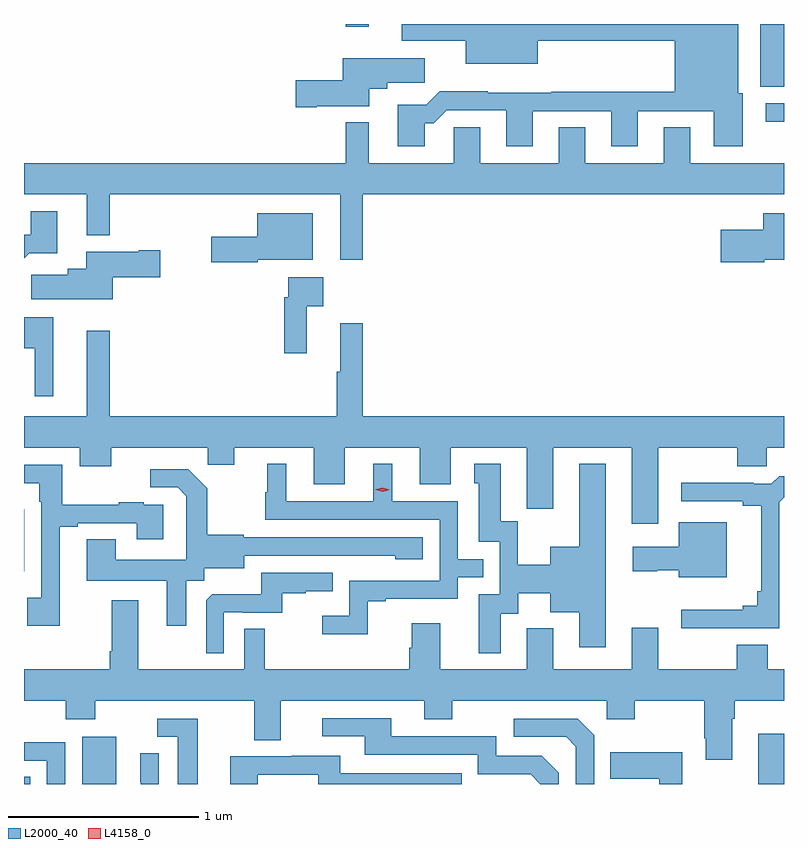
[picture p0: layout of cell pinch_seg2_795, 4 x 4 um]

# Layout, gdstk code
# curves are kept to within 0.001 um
import gdstk
lib = gdstk.Library(unit=1e-6, precision=1e-09)
def R(c, l, rs):  # rectangles x0, y0, x1, y1
    for r in rs: c.add(gdstk.rectangle(r[:2], r[2:], *l))
def P(c, l, *ps):  # polygons
    for p in ps: c.add(gdstk.Polygon(p, *l))
L2000_40 = (2000, 40)
L4158_0 = (4158, 0)

pinch_seg2_795 = lib.new_cell('pinch_seg2_795')
R(pinch_seg2_795, L2000_40, [(663.851,613.897,663.883,613.934), (664.157,613.897,664.336,614.146), (667.715,613.897,667.851,614.161), (663.851,615.018,663.852,615.343), (667.755,617.383,667.851,617.481), (667.727,617.566,667.851,617.897), (665.544,617.883,665.665,617.897)])
P(pinch_seg2_795, L2000_40, [(665.959,617.375),(666.008,617.375),(666.075,617.442),(666.389,617.442),(666.389,617.253),(666.529,617.253),(666.529,617.439),(666.941,617.439),(666.941,617.253),(667.081,617.253),(667.081,617.439),(667.481,617.439),(667.481,617.253),(667.633,617.253),(667.633,617.532),(667.609,617.532),(667.609,617.897),(665.84,617.897),(665.84,617.81),(666.176,617.81),(666.176,617.687),(666.556,617.687),(666.556,617.81),(667.277,617.81),(667.277,617.54),(666.625,617.54),(666.625,617.536),(666.293,617.536),(666.293,617.543),(666.038,617.543),(665.968,617.473),(665.819,617.473),(665.819,617.253),(665.959,617.253)],
  [(665.392,617.465),(665.668,617.465),(665.668,617.555),(665.764,617.555),(665.764,617.587),(665.959,617.587),(665.959,617.716),(665.528,617.716),(665.528,617.6),(665.28,617.6),(665.28,617.458),(665.392,617.458)],
  [(665.633,617),(667.851,617),(667.851,617.164),(667.357,617.164),(667.357,617.354),(667.217,617.354),(667.217,617.164),(666.805,617.164),(666.805,617.354),(666.665,617.354),(666.665,617.164),(666.253,617.164),(666.253,617.354),(666.114,617.354),(666.114,617.164),(665.665,617.164),(665.665,617.38),(665.544,617.38),(665.544,617.164),(663.851,617.164),(663.851,617),(664.181,617),(664.181,616.784),(664.303,616.784),(664.303,617),(665.516,617),(665.516,616.656),(665.633,616.656)],
  [(663.878,616.691),(664.027,616.691),(664.027,616.912),(663.887,616.912),(663.887,616.789),(663.851,616.789),(663.851,616.664)],
  [(665.082,616.655),(665.371,616.655),(665.371,616.9),(665.078,616.9),(665.078,616.777),(664.836,616.777),(664.836,616.643),(665.082,616.643)],
  [(667.746,616.655),(667.851,616.655),(667.851,616.9),(667.742,616.9),(667.742,616.813),(667.518,616.813),(667.518,616.643),(667.746,616.643)],
  [(664.318,616.565),(664.567,616.565),(664.567,616.707),(664.454,616.707),(664.454,616.699),(664.178,616.699),(664.178,616.609),(664.082,616.609),(664.082,616.577),(663.888,616.577),(663.888,616.448),(664.318,616.448)],
  [(665.339,616.412),(665.425,616.412),(665.425,616.564),(665.241,616.564),(665.241,616.46),(665.221,616.46),(665.221,616.164),(665.339,616.164)],
  [(664.006,616.354),(663.851,616.354),(663.851,616.19),(663.908,616.19),(663.908,615.939),(664.006,615.939)],
  [(667.189,615.668),(667.606,615.668),(667.606,615.57),(667.761,615.57),(667.761,615.668),(667.851,615.668),(667.851,615.832),(665.633,615.832),(665.633,616.321),(665.516,616.321),(665.516,616.068),(665.497,616.068),(665.497,615.832),(664.303,615.832),(664.303,616.282),(664.181,616.282),(664.181,615.832),(663.851,615.832),(663.851,615.668),(664.145,615.668),(664.145,615.569),(664.309,615.569),(664.309,615.668),(664.819,615.668),(664.819,615.578),(664.957,615.578),(664.957,615.668),(665.375,615.668),(665.375,615.474),(665.539,615.474),(665.539,615.668),(665.933,615.668),(665.933,615.474),(666.097,615.474),(666.097,615.668),(666.497,615.668),(666.497,615.457),(666.498,615.457),(666.498,615.345),(666.637,615.345),(666.637,615.668),(667.049,615.668),(667.049,615.267),(667.189,615.267)],
  [(665.661,614.859),(665.755,614.859),(665.755,614.871),(666.135,614.871),(666.135,614.985),(666.269,614.985),(666.269,615.081),(666.135,615.081),(666.135,615.384),(665.788,615.384),(665.788,615.583),(665.69,615.583),(665.69,615.384),(665.23,615.384),(665.23,615.583),(665.132,615.583),(665.132,615.432),(665.121,615.432),(665.121,615.288),(666.039,615.288),(666.039,614.967),(665.562,614.967),(665.562,614.782),(665.421,614.782),(665.421,614.684),(665.661,614.684)],
  [(666.361,614.794),(666.451,614.794),(666.451,614.9),(666.62,614.9),(666.62,614.801),(666.773,614.801),(666.773,614.616),(666.913,614.616),(666.913,615.583),(666.773,615.583),(666.773,615.145),(666.62,615.145),(666.62,615.052),(666.45,615.052),(666.45,615.279),(666.361,615.279),(666.361,615.583),(666.221,615.583),(666.221,615.48),(666.245,615.48),(666.245,615.171),(666.354,615.171),(666.354,614.895),(666.245,614.895),(666.245,614.586),(666.361,614.586)],
  [(664.039,615.252),(664.135,615.252),(664.135,615.27),(664.445,615.27),(664.445,615.186),(664.585,615.186),(664.585,615.366),(664.481,615.366),(664.481,615.379),(664.349,615.379),(664.349,615.368),(664.051,615.368),(664.051,615.576),(663.851,615.576),(663.851,615.479),(663.93,615.479),(663.93,615.383),(663.942,615.383),(663.942,614.878),(663.867,614.878),(663.867,614.73),(664.039,614.73)],
  [(664.705,614.968),(664.8,614.968),(664.8,615.032),(665.011,615.032),(665.011,615.099),(665.805,615.098),(665.805,615.08),(665.95,615.08),(665.95,615.195),(665.007,615.195),(665.007,615.208),(664.815,615.208),(664.815,615.453),(664.715,615.553),(664.515,615.553),(664.515,615.459),(664.659,615.459),(664.706,615.412),(664.706,615.317),(664.704,615.317),(664.704,615.076),(664.333,615.076),(664.333,615.185),(664.181,615.185),(664.181,614.966),(664.601,614.966),(664.601,614.73),(664.705,614.73)],
  [(667.827,615.381),(667.851,615.405),(667.851,615.517),(667.825,615.517),(667.785,615.477),(667.691,615.477),(667.691,615.482),(667.311,615.482),(667.311,615.384),(667.634,615.384),(667.634,615.362),(667.73,615.362),(667.73,614.911),(667.711,614.911),(667.711,614.834),(667.634,614.834),(667.634,614.815),(667.311,614.815),(667.311,614.718),(667.827,614.718)],
  [(667.549,615.274),(667.298,615.274),(667.298,615.145),(667.056,615.145),(667.056,615.016),(667.185,615.016),(667.185,615.023),(667.298,615.023),(667.298,614.984),(667.549,614.984)],
  [(664.902,614.802),(665.002,614.802),(665.002,614.799),(665.21,614.799),(665.21,614.901),(665.333,614.901),(665.333,614.912),(665.477,614.912),(665.477,615.009),(665.1,615.009),(665.1,614.897),(664.841,614.897),(664.809,614.865),(664.809,614.585),(664.902,614.585)],
  [(667.579,614.24),(667.592,614.24),(667.592,614.336),(667.851,614.336),(667.851,614.5),(667.765,614.5),(667.765,614.629),(667.601,614.629),(667.601,614.5),(667.189,614.5),(667.189,614.719),(667.049,614.719),(667.049,614.5),(666.637,614.5),(666.637,614.716),(666.497,614.716),(666.497,614.5),(666.043,614.5),(666.043,614.743),(665.891,614.743),(665.891,614.613),(665.879,614.613),(665.879,614.5),(665.119,614.5),(665.119,614.714),(665.01,614.714),(665.01,614.5),(664.453,614.5),(664.453,614.863),(664.313,614.863),(664.313,614.596),(664.301,614.596),(664.301,614.5),(663.851,614.5),(663.851,614.336),(664.072,614.336),(664.072,614.237),(664.227,614.237),(664.227,614.336),(665.063,614.336),(665.063,614.128),(665.203,614.128),(665.203,614.336),(665.957,614.336),(665.957,614.237),(666.105,614.237),(666.105,614.336),(666.918,614.336),(666.918,614.237),(667.065,614.237),(667.065,614.336),(667.432,614.336),(667.432,614.137),(667.439,614.137),(667.439,614.025),(667.579,614.025)],
  [(666.666,613.956),(666.576,614.046),(666.336,614.046),(666.336,614.148),(665.785,614.148),(665.785,614.244),(665.421,614.244),(665.421,614.148),(665.645,614.148),(665.645,614.052),(666.24,614.052),(666.24,613.949),(666.517,613.949),(666.569,613.897),(666.666,613.897)],
  [(666.852,614.154),(666.765,614.241),(666.429,614.241),(666.429,614.145),(666.705,614.145),(666.756,614.094),(666.756,613.897),(666.852,613.897)],
  [(664.765,614.241),(664.551,614.241),(664.551,614.145),(664.661,614.145),(664.661,613.897),(664.765,613.897)],
  [(664.068,614.118),(663.851,614.118),(663.851,614.019),(663.972,614.019),(663.972,613.897),(664.068,613.897)],
  [(667.315,614.065),(666.937,614.065),(666.937,613.925),(667.194,613.925),(667.194,613.897),(667.315,613.897)],
  [(664.56,614.06),(664.464,614.06),(664.464,613.906),(664.466,613.906),(664.466,613.897),(664.56,613.897)],
  [(665.082,613.947),(665.4,613.947),(665.4,613.897),(666.155,613.897),(666.155,613.953),(665.515,613.953),(665.515,614.047),(665.261,614.047),(665.261,614.043),(664.937,614.043),(664.937,613.897),(665.082,613.897)])
P(pinch_seg2_795, L4158_0, [(665.739,615.436),(665.703,615.447),(665.703,615.448),(665.703,615.448),(665.739,615.456),(665.775,615.446),(665.775,615.445),(665.775,615.445)])

lib.write_gds('pinch_seg2_795.gds')
